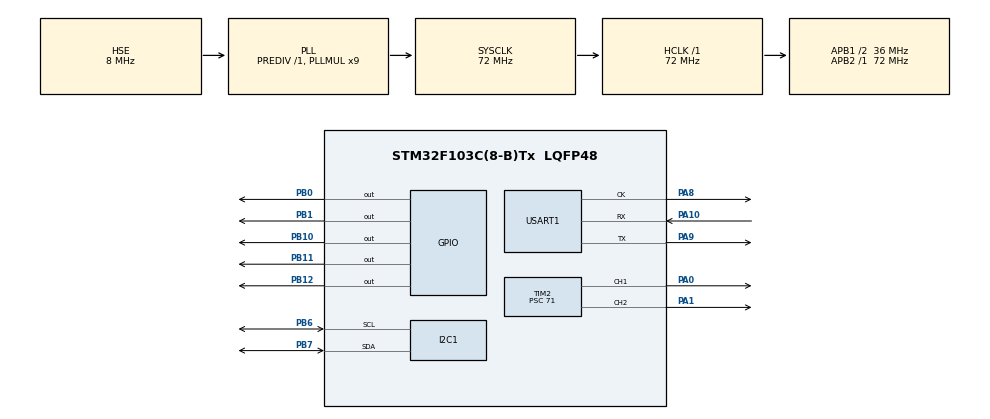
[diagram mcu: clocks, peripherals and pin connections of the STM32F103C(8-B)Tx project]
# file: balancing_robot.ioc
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Mcu.Family=STM32F1
Mcu.Name=STM32F103C(8-B)Tx
Mcu.Package=LQFP48
NVIC.PriorityGroup=NVIC_PRIORITYGROUP_4
PA0-WKUP.Signal=S_TIM2_CH1_ETR
PA1.Signal=S_TIM2_CH2
PA10.Mode=Synchronous
PA10.Signal=USART1_RX
PA13.Mode=Serial_Wire
PA13.Signal=SYS_JTMS-SWDIO
PA14.Mode=Serial_Wire
PA14.Signal=SYS_JTCK-SWCLK
PA8.Mode=Synchronous
PA8.Signal=USART1_CK
PA9.Mode=Synchronous
PA9.Signal=USART1_TX
PB0.Signal=GPIO_Output
PB1.Signal=GPIO_Output
PB10.Signal=GPIO_Output
PB11.Signal=GPIO_Output
PB12.Signal=GPIO_Output
PB6.Mode=I2C
PB6.Signal=I2C1_SCL
PB7.Mode=I2C
PB7.Signal=I2C1_SDA
PD0-OSC_IN.Mode=HSE-External-Oscillator
PD0-OSC_IN.Signal=RCC_OSC_IN
PD1-OSC_OUT.Mode=HSE-External-Oscillator
PD1-OSC_OUT.Signal=RCC_OSC_OUT
ProjectManager.HeapSize=0x200
ProjectManager.StackSize=0x400
ProjectManager.TargetToolchain=STM32CubeIDE
RCC.AHBFreq_Value=72000000
RCC.APB1CLKDivider=RCC_HCLK_DIV2
RCC.APB1Freq_Value=36000000
RCC.APB1TimFreq_Value=72000000
RCC.APB2Freq_Value=72000000
RCC.APB2TimFreq_Value=72000000
RCC.HCLKFreq_Value=72000000
RCC.PLLMUL=RCC_PLL_MUL9
RCC.PLLSourceVirtual=RCC_PLLSOURCE_HSE
RCC.SYSCLKFreq_VALUE=72000000
RCC.SYSCLKSource=RCC_SYSCLKSOURCE_PLLCLK
RCC.USBFreq_Value=72000000
SH.S_TIM2_CH1_ETR.0=TIM2_CH1,PWM Generation1 CH1
SH.S_TIM2_CH2.0=TIM2_CH2,PWM Generation2 CH2
TIM2.Channel-PWM\ Generation1\ CH1=TIM_CHANNEL_1
TIM2.Channel-PWM\ Generation2\ CH2=TIM_CHANNEL_2
TIM2.Period=999
TIM2.Prescaler=71
USART1.VirtualMode=VM_SYNC
VP_TIM2_VS_ClockSourceINT.Mode=Internal
board=custom

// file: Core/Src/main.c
/* USER CODE BEGIN Header */
/**
  ******************************************************************************
  * @file           : main.c
  * @brief          : Main program body
  ******************************************************************************
  * @attention
  *
  * Copyright (c) 2026 STMicroelectronics.
  * All rights reserved.
  *
  * This software is licensed under terms that can be found in the LICENSE file
  * in the root directory of this software component.
  * If no LICENSE file comes with this software, it is provided AS-IS.
  *
  ******************************************************************************
  */
/* USER CODE END Header */
#include "main.h"

/* USER CODE BEGIN Includes */
#include "mpu6050.h"
#include "angle.h"
#include <stdio.h>
#include <string.h>
/* USER CODE END Includes */

I2C_HandleTypeDef hi2c1;

TIM_HandleTypeDef htim2;

USART_HandleTypeDef husart1;

/* USER CODE BEGIN PV */
MPU6050_Data imu;
Angle_Data angle;
uint32_t last_tick = 0;
char uart_buf[100];
/* USER CODE END PV */

void SystemClock_Config(void);
static void MX_GPIO_Init(void);
static void MX_I2C1_Init(void);
static void MX_TIM2_Init(void);
static void MX_USART1_Init(void);

int main(void)
{

  /* MCU Configuration--------------------------------------------------------*/

  /* Reset of all peripherals, Initializes the Flash interface and the Systick. */
  HAL_Init();

  /* Configure the system clock */
  SystemClock_Config();

  /* Initialize all configured peripherals */
  MX_GPIO_Init();
  MX_I2C1_Init();
  MX_TIM2_Init();
  MX_USART1_Init();
  /* USER CODE BEGIN 2 */
  HAL_Delay(100);
  if (MPU6050_Init(&hi2c1) != HAL_OK)
  {
    // 초기화 실패 시 LED 빠르게 깜빡임
    while (1) {
      HAL_GPIO_TogglePin(GPIOC, GPIO_PIN_13);
      HAL_Delay(100);
    }
  }
  // 초기 각도 설정 (첫 가속도계 값으로)
  MPU6050_Read(&hi2c1, &imu);
  Angle_Init(&imu, &angle);
  last_tick = HAL_GetTick();
  /* USER CODE END 2 */

  /* Infinite loop */
  while (1)
  {

    /* USER CODE BEGIN 3 */
    // dt 계산 (ms → 초)
    uint32_t now = HAL_GetTick();
    float dt = (now - last_tick) / 1000.0f;
    last_tick = now;

    MPU6050_Read(&hi2c1, &imu);
    Angle_Update(&imu, &angle, dt);

    int len = snprintf(uart_buf, sizeof(uart_buf),
        "AX:%.2f AY:%.2f AZ:%.2f ANGLE_X:%.2f ANGLE_Y:%.2f\r\n",
        imu.accel_x, imu.accel_y, imu.accel_z,
        angle.x, angle.y);
    HAL_USART_Transmit(&husart1, (uint8_t*)uart_buf, len, 100);

    HAL_Delay(10);
  }
  /* USER CODE END 3 */
}

void SystemClock_Config(void)
{
  RCC_OscInitTypeDef RCC_OscInitStruct = {0};
  RCC_ClkInitTypeDef RCC_ClkInitStruct = {0};

  /** Initializes the RCC Oscillators according to the specified parameters
  * in the RCC_OscInitTypeDef structure.
  */
  RCC_OscInitStruct.OscillatorType = RCC_OSCILLATORTYPE_HSE;
  RCC_OscInitStruct.HSEState = RCC_HSE_ON;
  RCC_OscInitStruct.HSEPredivValue = RCC_HSE_PREDIV_DIV1;
  RCC_OscInitStruct.HSIState = RCC_HSI_ON;
  RCC_OscInitStruct.PLL.PLLState = RCC_PLL_ON;
  RCC_OscInitStruct.PLL.PLLSource = RCC_PLLSOURCE_HSE;
  RCC_OscInitStruct.PLL.PLLMUL = RCC_PLL_MUL9;
  if (HAL_RCC_OscConfig(&RCC_OscInitStruct) != HAL_OK)
  {
    Error_Handler();
  }

  /** Initializes the CPU, AHB and APB buses clocks
  */
  RCC_ClkInitStruct.ClockType = RCC_CLOCKTYPE_HCLK|RCC_CLOCKTYPE_SYSCLK
                              |RCC_CLOCKTYPE_PCLK1|RCC_CLOCKTYPE_PCLK2;
  RCC_ClkInitStruct.SYSCLKSource = RCC_SYSCLKSOURCE_PLLCLK;
  RCC_ClkInitStruct.AHBCLKDivider = RCC_SYSCLK_DIV1;
  RCC_ClkInitStruct.APB1CLKDivider = RCC_HCLK_DIV2;
  RCC_ClkInitStruct.APB2CLKDivider = RCC_HCLK_DIV1;

  if (HAL_RCC_ClockConfig(&RCC_ClkInitStruct, FLASH_LATENCY_2) != HAL_OK)
  {
    Error_Handler();
  }
}

static void MX_I2C1_Init(void)
{

  hi2c1.Instance = I2C1;
  hi2c1.Init.ClockSpeed = 100000;
  hi2c1.Init.DutyCycle = I2C_DUTYCYCLE_2;
  hi2c1.Init.OwnAddress1 = 0;
  hi2c1.Init.AddressingMode = I2C_ADDRESSINGMODE_7BIT;
  hi2c1.Init.DualAddressMode = I2C_DUALADDRESS_DISABLE;
  hi2c1.Init.OwnAddress2 = 0;
  hi2c1.Init.GeneralCallMode = I2C_GENERALCALL_DISABLE;
  hi2c1.Init.NoStretchMode = I2C_NOSTRETCH_DISABLE;
  if (HAL_I2C_Init(&hi2c1) != HAL_OK)
  {
    Error_Handler();
  }

}

static void MX_TIM2_Init(void)
{

  TIM_ClockConfigTypeDef sClockSourceConfig = {0};
  TIM_MasterConfigTypeDef sMasterConfig = {0};
  TIM_OC_InitTypeDef sConfigOC = {0};

  htim2.Instance = TIM2;
  htim2.Init.Prescaler = 71;
  htim2.Init.CounterMode = TIM_COUNTERMODE_UP;
  htim2.Init.Period = 999;
  htim2.Init.ClockDivision = TIM_CLOCKDIVISION_DIV1;
  htim2.Init.AutoReloadPreload = TIM_AUTORELOAD_PRELOAD_DISABLE;
  if (HAL_TIM_Base_Init(&htim2) != HAL_OK)
  {
    Error_Handler();
  }
  sClockSourceConfig.ClockSource = TIM_CLOCKSOURCE_INTERNAL;
  if (HAL_TIM_ConfigClockSource(&htim2, &sClockSourceConfig) != HAL_OK)
  {
    Error_Handler();
  }
  if (HAL_TIM_PWM_Init(&htim2) != HAL_OK)
  {
    Error_Handler();
  }
  sMasterConfig.MasterOutputTrigger = TIM_TRGO_RESET;
  sMasterConfig.MasterSlaveMode = TIM_MASTERSLAVEMODE_DISABLE;
  if (HAL_TIMEx_MasterConfigSynchronization(&htim2, &sMasterConfig) != HAL_OK)
  {
    Error_Handler();
  }
  sConfigOC.OCMode = TIM_OCMODE_PWM1;
  sConfigOC.Pulse = 0;
  sConfigOC.OCPolarity = TIM_OCPOLARITY_HIGH;
  sConfigOC.OCFastMode = TIM_OCFAST_DISABLE;
  if (HAL_TIM_PWM_ConfigChannel(&htim2, &sConfigOC, TIM_CHANNEL_1) != HAL_OK)
  {
    Error_Handler();
  }
  if (HAL_TIM_PWM_ConfigChannel(&htim2, &sConfigOC, TIM_CHANNEL_2) != HAL_OK)
  {
    Error_Handler();
  }
  HAL_TIM_MspPostInit(&htim2);

}

static void MX_USART1_Init(void)
{

  husart1.Instance = USART1;
  husart1.Init.BaudRate = 115200;
  husart1.Init.WordLength = USART_WORDLENGTH_8B;
  husart1.Init.StopBits = USART_STOPBITS_1;
  husart1.Init.Parity = USART_PARITY_NONE;
  husart1.Init.Mode = USART_MODE_TX_RX;
  husart1.Init.CLKPolarity = USART_POLARITY_LOW;
  husart1.Init.CLKPhase = USART_PHASE_1EDGE;
  husart1.Init.CLKLastBit = USART_LASTBIT_DISABLE;
  if (HAL_USART_Init(&husart1) != HAL_OK)
  {
    Error_Handler();
  }

}

static void MX_GPIO_Init(void)
{
  GPIO_InitTypeDef GPIO_InitStruct = {0};

  /* GPIO Ports Clock Enable */
  __HAL_RCC_GPIOD_CLK_ENABLE();
  __HAL_RCC_GPIOA_CLK_ENABLE();
  __HAL_RCC_GPIOB_CLK_ENABLE();

  /*Configure GPIO pin Output Level */
  HAL_GPIO_WritePin(GPIOB, GPIO_PIN_0|GPIO_PIN_1|GPIO_PIN_10|GPIO_PIN_11
                          |GPIO_PIN_12, GPIO_PIN_RESET);

  /*Configure GPIO pins : PB0 PB1 PB10 PB11
                           PB12 */
  GPIO_InitStruct.Pin = GPIO_PIN_0|GPIO_PIN_1|GPIO_PIN_10|GPIO_PIN_11
                          |GPIO_PIN_12;
  GPIO_InitStruct.Mode = GPIO_MODE_OUTPUT_PP;
  GPIO_InitStruct.Pull = GPIO_NOPULL;
  GPIO_InitStruct.Speed = GPIO_SPEED_FREQ_LOW;
  HAL_GPIO_Init(GPIOB, &GPIO_InitStruct);

}

void Error_Handler(void)
{
  __disable_irq();
  while (1)
  {
  }
}
